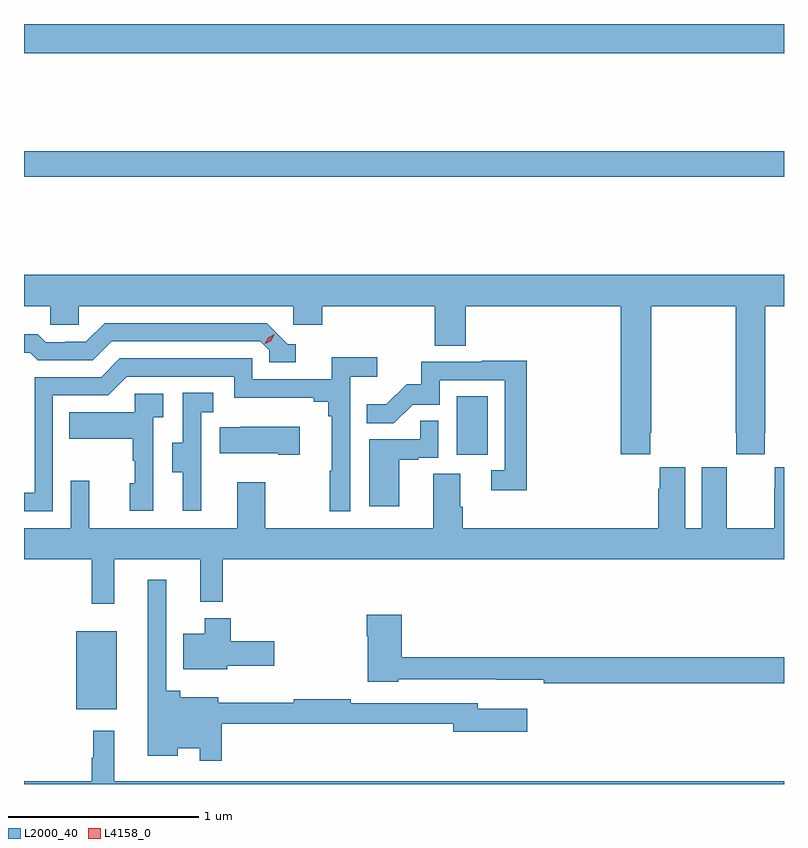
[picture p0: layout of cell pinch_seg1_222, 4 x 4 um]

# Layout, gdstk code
import gdstk
lib = gdstk.Library(unit=1e-6, precision=1e-09)
def R(c, l, rs):  # rectangles x0, y0, x1, y1
    for r in rs: c.add(gdstk.rectangle(r[:2], r[2:], *l))
def P(c, l, *ps):  # polygons
    for p in ps: c.add(gdstk.Polygon(p, *l))
L2000_40 = (2000, 40)
L4158_0 = (4158, 0)

pinch_seg1_222 = lib.new_cell('pinch_seg1_222')
R(pinch_seg1_222, L2000_40, [(974.102,568.259,974.317,568.669), (976.106,569.598,976.27,569.905), (973.828,571.06,977.828,571.196), (973.828,571.712,977.828,571.865)])
P(pinch_seg1_222, L2000_40, [(977.123,569.713),(977.13,569.713),(977.13,570.38),(977.575,570.38),(977.575,569.713),(977.577,569.713),(977.577,569.601),(977.727,569.601),(977.727,569.713),(977.73,569.713),(977.73,570.38),(977.828,570.38),(977.828,570.544),(973.828,570.544),(973.828,570.38),(973.965,570.38),(973.965,570.282),(974.115,570.282),(974.115,570.38),(975.246,570.38),(975.246,570.282),(975.398,570.282),(975.398,570.38),(975.989,570.38),(975.989,570.172),(976.154,570.172),(976.154,570.38),(976.97,570.38),(976.97,569.601),(977.123,569.601)],
  [(975.259,570.18),(975.216,570.18),(975.105,570.291),(974.252,570.291),(974.153,570.192),(974.046,570.192),(974.046,570.189),(973.943,570.189),(973.901,570.232),(973.828,570.232),(973.828,570.135),(973.862,570.135),(973.901,570.096),(974.19,570.096),(974.289,570.195),(975.072,570.195),(975.12,570.147),(975.12,570.084),(975.259,570.084)],
  [(973.98,569.91),(974.271,569.91),(974.37,570.009),(974.934,570.009),(974.934,569.897),(975.353,569.897),(975.353,569.878),(975.43,569.878),(975.43,569.801),(975.449,569.801),(975.449,569.513),(975.438,569.513),(975.438,569.301),(975.546,569.301),(975.546,570.008),(975.688,570.008),(975.688,570.11),(975.449,570.11),(975.449,569.994),(975.03,569.994),(975.03,570.105),(974.333,570.105),(974.234,570.006),(973.884,570.006),(973.884,569.397),(973.828,569.397),(973.828,569.301),(973.98,569.301)],
  [(976.475,570.092),(976.237,570.092),(976.237,570.087),(975.919,570.087),(975.919,569.97),(975.842,569.97),(975.735,569.863),(975.631,569.863),(975.631,569.764),(975.775,569.764),(975.873,569.862),(976.017,569.862),(976.017,569.991),(976.359,569.991),(976.359,569.517),(976.287,569.517),(976.287,569.412),(976.475,569.412)],
  [(974.762,569.517),(974.76,569.517),(974.76,569.821),(974.824,569.821),(974.824,569.924),(974.664,569.924),(974.664,569.661),(974.609,569.661),(974.609,569.506),(974.663,569.506),(974.663,569.304),(974.762,569.304)],
  [(974.508,569.795),(974.56,569.795),(974.56,569.919),(974.412,569.919),(974.412,569.821),(974.065,569.821),(974.065,569.681),(974.4,569.681),(974.4,569.567),(974.41,569.567),(974.41,569.448),(974.384,569.448),(974.384,569.304),(974.508,569.304)],
  [(975.802,569.571),(975.902,569.571),(975.902,569.583),(976.008,569.583),(976.008,569.777),(975.913,569.777),(975.913,569.679),(975.644,569.679),(975.644,569.328),(975.802,569.328)],
  [(975.28,569.746),(974.965,569.746),(974.965,569.743),(974.857,569.743),(974.857,569.606),(975.167,569.606),(975.167,569.599),(975.28,569.599)],
  [(974.303,569.048),(974.756,569.048),(974.756,568.823),(974.873,568.823),(974.873,569.048),(977.828,569.048),(977.828,569.533),(977.778,569.533),(977.778,569.42),(977.777,569.42),(977.777,569.212),(977.527,569.212),(977.527,569.42),(977.526,569.42),(977.526,569.533),(977.396,569.533),(977.396,569.212),(977.308,569.212),(977.308,569.533),(977.174,569.533),(977.174,569.42),(977.165,569.42),(977.165,569.212),(976.136,569.212),(976.136,569.324),(976.123,569.324),(976.123,569.498),(975.983,569.498),(975.983,569.212),(975.099,569.212),(975.099,569.452),(974.951,569.452),(974.951,569.212),(974.171,569.212),(974.171,569.461),(974.073,569.461),(974.073,569.212),(973.828,569.212),(973.828,569.048),(974.185,569.048),(974.185,568.815),(974.303,568.815)],
  [(974.87,568.182),(976.088,568.182),(976.088,568.139),(976.477,568.139),(976.477,568.261),(976.216,568.261),(976.216,568.29),(975.548,568.29),(975.548,568.31),(975.247,568.31),(975.247,568.292),(974.851,568.292),(974.851,568.321),(974.651,568.321),(974.651,568.357),(974.577,568.357),(974.577,568.939),(974.48,568.939),(974.48,568.013),(974.638,568.013),(974.638,568.052),(974.754,568.052),(974.754,567.987),(974.87,567.987)],
  [(977.828,568.532),(975.815,568.532),(975.815,568.756),(975.632,568.756),(975.632,568.643),(975.637,568.643),(975.637,568.403),(975.798,568.403),(975.798,568.416),(976.312,568.416),(976.312,568.415),(976.564,568.415),(976.564,568.396),(977.828,568.396)],
  [(974.898,568.487),(975.145,568.487),(975.145,568.617),(974.915,568.617),(974.915,568.738),(974.78,568.738),(974.78,568.657),(974.666,568.657),(974.666,568.469),(974.898,568.469)],
  [(973.828,567.865),(977.828,567.865),(977.828,567.88),(974.302,567.88),(974.302,568.144),(974.193,568.144),(974.193,568.004),(974.185,568.004),(974.185,567.88),(973.828,567.88)])
P(pinch_seg1_222, L4158_0, [(975.096,570.181),(975.096,570.181),(975.113,570.213),(975.144,570.232),(975.145,570.232),(975.145,570.232),(975.128,570.199),(975.097,570.181)])

lib.write_gds('pinch_seg1_222.gds')
